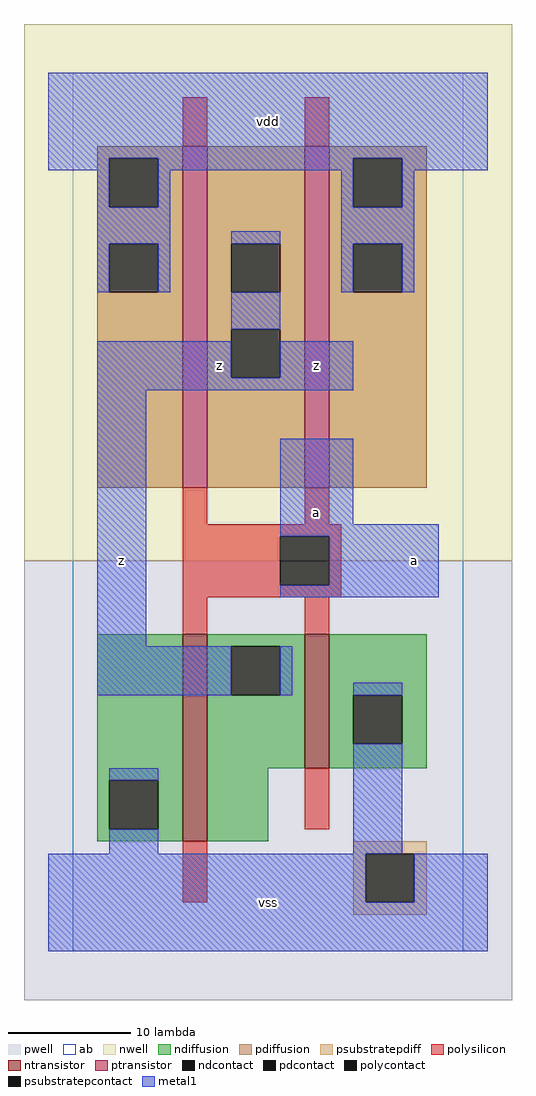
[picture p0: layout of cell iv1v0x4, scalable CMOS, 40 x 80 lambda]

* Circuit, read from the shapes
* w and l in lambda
.subckt iv1v0x4 a vdd vss z
M1 z a vss vss nfet w=17 l=2
M2 vss a z vss nfet w=11 l=2
M3 z a vdd n1 pfet w=28 l=2 m=2
.ends

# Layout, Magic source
magic
tech scmos
<< ab >>
rect 0 0 32 72
<< pwell >>
rect -4 -4 36 32
<< nwell >>
rect -4 32 36 76
<< polysilicon >>
rect 9 66 11 70
rect 19 66 21 70
rect 9 35 11 38
rect 19 35 21 38
rect 9 34 22 35
rect 9 30 17 34
rect 21 30 22 34
rect 9 29 22 30
rect 9 26 11 29
rect 19 26 21 29
rect 19 10 21 15
rect 9 4 11 9
<< ndiffusion >>
rect 2 14 9 26
rect 2 10 3 14
rect 7 10 9 14
rect 2 9 9 10
rect 11 25 19 26
rect 11 21 13 25
rect 17 21 19 25
rect 11 15 19 21
rect 21 21 29 26
rect 21 17 23 21
rect 27 17 29 21
rect 21 15 29 17
rect 11 9 16 15
<< pdiffusion >>
rect 2 65 9 66
rect 2 61 3 65
rect 7 61 9 65
rect 2 58 9 61
rect 2 54 3 58
rect 7 54 9 58
rect 2 38 9 54
rect 11 58 19 66
rect 11 54 13 58
rect 17 54 19 58
rect 11 51 19 54
rect 11 47 13 51
rect 17 47 19 51
rect 11 38 19 47
rect 21 65 29 66
rect 21 61 23 65
rect 27 61 29 65
rect 21 58 29 61
rect 21 54 23 58
rect 27 54 29 58
rect 21 38 29 54
<< metal1 >>
rect -2 65 34 72
rect -2 64 3 65
rect 2 61 3 64
rect 7 64 23 65
rect 7 61 8 64
rect 2 58 8 61
rect 22 61 23 64
rect 27 64 34 65
rect 27 61 28 64
rect 2 54 3 58
rect 7 54 8 58
rect 13 58 17 59
rect 22 58 28 61
rect 22 54 23 58
rect 27 54 28 58
rect 13 51 17 54
rect 2 47 13 50
rect 17 47 23 50
rect 2 46 23 47
rect 2 25 6 46
rect 17 35 23 42
rect 17 34 30 35
rect 21 30 30 34
rect 17 29 30 30
rect 2 21 13 25
rect 17 21 18 25
rect 23 21 27 22
rect 3 14 7 15
rect 3 8 7 10
rect 23 8 27 17
rect -2 4 24 8
rect 28 4 34 8
rect -2 0 34 4
<< ntransistor >>
rect 9 9 11 26
rect 19 15 21 26
<< ptransistor >>
rect 9 38 11 66
rect 19 38 21 66
<< polycontact >>
rect 17 30 21 34
<< ndcontact >>
rect 3 10 7 14
rect 13 21 17 25
rect 23 17 27 21
<< pdcontact >>
rect 3 61 7 65
rect 3 54 7 58
rect 13 54 17 58
rect 13 47 17 51
rect 23 61 27 65
rect 23 54 27 58
<< psubstratepcontact >>
rect 24 4 28 8
<< psubstratepdiff >>
rect 23 8 29 9
rect 23 4 24 8
rect 28 4 29 8
rect 23 3 29 4
<< labels >>
rlabel metal1 4 32 4 32 6 z
rlabel metal1 12 48 12 48 6 z
rlabel metal1 16 4 16 4 6 vss
rlabel metal1 20 36 20 36 6 a
rlabel metal1 20 48 20 48 6 z
rlabel metal1 16 68 16 68 6 vdd
rlabel metal1 28 32 28 32 6 a
<< end >>
